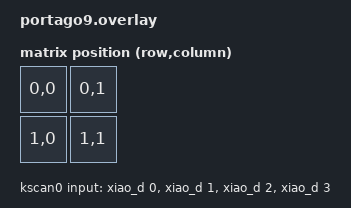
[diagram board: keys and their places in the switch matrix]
#include <dt-bindings/zmk/matrix_transform.h>

/ {
    // キースキャン設定（GPIOダイレクト方式）
    kscan0: kscan0 {
        compatible = "zmk,kscan-gpio-direct";
        wakeup-source;

        // 入力ピンの割り当て（XIAO D0〜D3をLOWアクティブ・プルアップ）
        input-gpios = <
            &xiao_d 0 (GPIO_ACTIVE_LOW | GPIO_PULL_UP)
            &xiao_d 1 (GPIO_ACTIVE_LOW | GPIO_PULL_UP)
            &xiao_d 2 (GPIO_ACTIVE_LOW | GPIO_PULL_UP)
            &xiao_d 3 (GPIO_ACTIVE_LOW | GPIO_PULL_UP)
        >;
    };
};

/ {
    // 論理マトリクス変換設定
    default_transform: keymap_transform0 {
        compatible = "zmk,matrix-transform";
        columns = <2>; // 列数
        rows = <2>;    // 行数
        map = <
            RC(0,0) RC(0,1)
            RC(1,0) RC(1,1)
        >;
    };
};

/ {
    // 物理レイアウト定義
    physical_layout0: physical_layout_0 {
        compatible = "zmk,physical-layout";
        display-name = "Default Layout";
        kscan = <&kscan0>;
        transform = <&default_transform>;
    };
};

/ {
    // デフォルトの物理レイアウトを指定
    chosen {
        zmk,physical-layout = &physical_layout0;
    };
};
